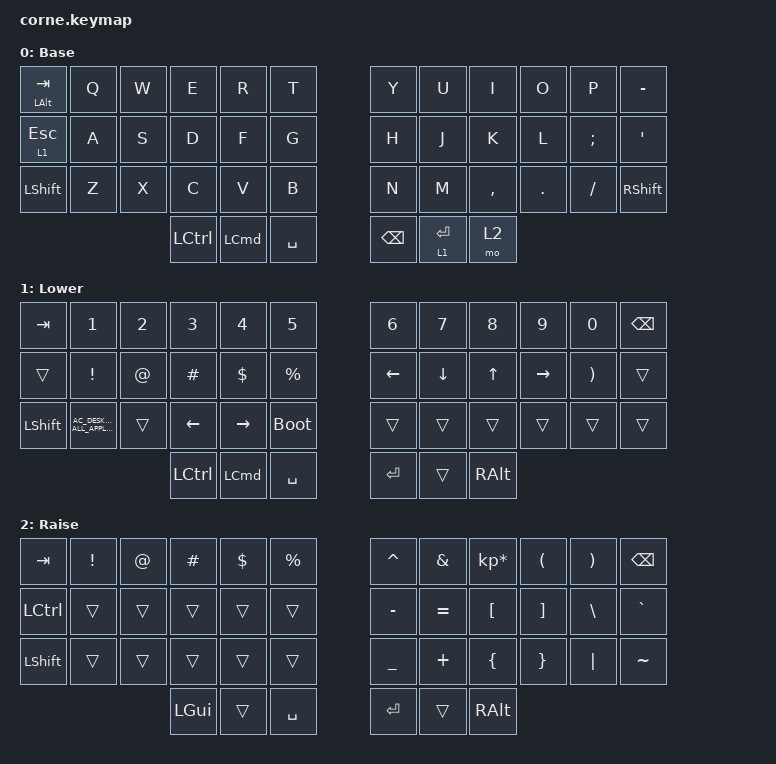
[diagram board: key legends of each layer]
/*
 * Copyright (c) 2020 The ZMK Contributors
 *
 * SPDX-License-Identifier: MIT
 */

#include <behaviors.dtsi>
#include <dt-bindings/zmk/keys.h>

/ {
    behaviors {
        new_behavior: new_behavior {
            compatible = "zmk,behavior-hold-tap";
            label = "NEW_BEHAVIOR";
            bindings = <&mo>, <&kp>;

            #binding-cells = <2>;
            tapping-term-ms = <200>;
            flavor = "tap-preferred";
        };

        esc_alt: esc_alt {
            compatible = "zmk,behavior-hold-tap";
            label = "ESC_ALT";
            bindings = <&kp>, <&kp>;

            #binding-cells = <2>;
            tapping-term-ms = <200>;
        };

        space_layer: space_layer {
            compatible = "zmk,behavior-hold-tap";
            label = "SPACE_LAYER";
            bindings = <&mo>, <&kp>;

            #binding-cells = <2>;
            flavor = "tap-preferred";
            tapping-term-ms = <220>;
        };
    };

    keymap {
        compatible = "zmk,keymap";

        default_layer {
            // -----------------------------------------------------------------------------------------
            // |  TAB |  Q  |  W  |  E  |  R  |  T  |   |  Y  |  U   |  I  |  O  |  P  | BKSP |
            // | CTRL |  A  |  S  |  D  |  F  |  G  |   |  H  |  J   |  K  |  L  |  ;  |  '   |
            // | SHFT |  Z  |  X  |  C  |  V  |  B  |   |  N  |  M   |  ,  |  .  |  /  | ESC  |
            //                    | GUI | LWR | SPC |   | ENT | RSE  | ALT |

            display-name = "Base";
            bindings = <
&esc_alt LEFT_ALT TAB   &kp Q  &kp W  &kp E             &kp R             &kp T        &kp Y          &kp U                   &kp I      &kp O    &kp P      &kp MINUS
&new_behavior 1 ESCAPE  &kp A  &kp S  &kp D             &kp F             &kp G        &kp H          &kp J                   &kp K      &kp L    &kp SEMI   &kp SQT
&kp LSHFT               &kp Z  &kp X  &kp C             &kp V             &kp B        &kp N          &kp M                   &kp COMMA  &kp DOT  &kp SLASH  &kp RIGHT_SHIFT
                                      &kp LEFT_CONTROL  &kp LEFT_COMMAND  &kp SPACE    &kp BACKSPACE  &new_behavior 1 RETURN  &mo 2
            >;
        };

        lower_layer {
            // -----------------------------------------------------------------------------------------
            // |  TAB |  1  |  2  |  3  |  4  |  5  |   |  6  |  7  |  8  |  9  |  0  | BKSP |
            // | BTCLR| BT1 | BT2 | BT3 | BT4 | BT5 |   | LFT | DWN |  UP | RGT |     |      |
            // | SHFT |     |     |     |     |     |   |     |     |     |     |     |      |
            //                    | GUI |     | SPC |   | ENT |     | ALT |

            display-name = "Lower";
            bindings = <
&kp TAB    &kp N1                                  &kp N2       &kp N3     &kp N4            &kp N5         &kp N6    &kp N7    &kp N8        &kp N9     &kp N0                 &kp BSPC
&trans     &kp EXCLAMATION                         &kp AT_SIGN  &kp HASH   &kp DOLLAR        &kp PERCENT    &kp LEFT  &kp DOWN  &kp UP_ARROW  &kp RIGHT  &kp RIGHT_PARENTHESIS  &trans
&kp LSHFT  &kp C_AC_DESKTOP_SHOW_ALL_APPLICATIONS  &trans       &kp LEFT   &kp RIGHT         &bootloader    &trans    &trans    &trans        &trans     &trans                 &trans
                                                                &kp LCTRL  &kp LEFT_COMMAND  &kp SPACE      &kp RET   &trans    &kp RALT
            >;
        };

        raise_layer {
            // -----------------------------------------------------------------------------------------
            // |  TAB |  !  |  @  |  #  |  $  |  %  |   |  ^  |  &  |  *  |  (  |  )  | BKSP |
            // | CTRL |     |     |     |     |     |   |  -  |  =  |  [  |  ]  |  \  |  `   |
            // | SHFT |     |     |     |     |     |   |  _  |  +  |  {  |  }  | "|" |  ~   |
            //                    | GUI |     | SPC |   | ENT |     | ALT |

            display-name = "Raise";
            bindings = <
&kp TAB    &kp EXCL  &kp AT  &kp HASH  &kp DLLR  &kp PRCNT    &kp CARET  &kp AMPS   &kp KP_MULTIPLY  &kp LPAR  &kp RPAR  &kp BSPC
&kp LCTRL  &trans    &trans  &trans    &trans    &trans       &kp MINUS  &kp EQUAL  &kp LBKT         &kp RBKT  &kp BSLH  &kp GRAVE
&kp LSHFT  &trans    &trans  &trans    &trans    &trans       &kp UNDER  &kp PLUS   &kp LBRC         &kp RBRC  &kp PIPE  &kp TILDE
                             &kp LGUI  &trans    &kp SPACE    &kp RET    &trans     &kp RALT
            >;
        };

        extra_1 { status = "reserved"; };

        extra_2 { status = "reserved"; };

        extra_3 { status = "reserved"; };
    };
};
